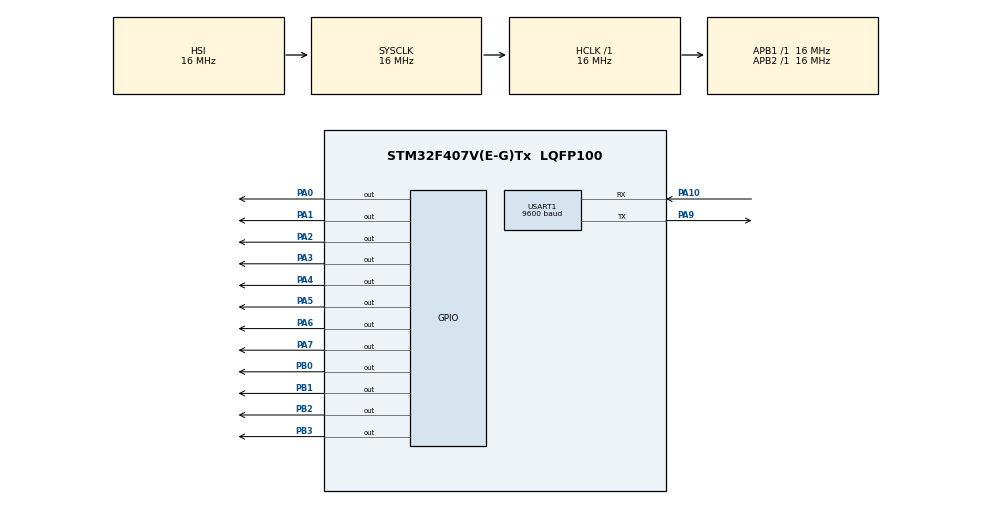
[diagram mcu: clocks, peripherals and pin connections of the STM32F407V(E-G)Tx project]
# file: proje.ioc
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Mcu.Family=STM32F4
Mcu.Name=STM32F407V(E-G)Tx
Mcu.Package=LQFP100
NVIC.PriorityGroup=NVIC_PRIORITYGROUP_4
NVIC.USART1_IRQn=true\:0\:0\:false\:false\:true\:true\:true\:true
PA0-WKUP.Signal=GPIO_Output
PA1.Signal=GPIO_Output
PA10.GPIO_PuPd=GPIO_PULLDOWN
PA10.Mode=Asynchronous
PA10.Signal=USART1_RX
PA2.Signal=GPIO_Output
PA3.Signal=GPIO_Output
PA4.Signal=GPIO_Output
PA5.Signal=GPIO_Output
PA6.Signal=GPIO_Output
PA7.Signal=GPIO_Output
PA9.Mode=Asynchronous
PA9.Signal=USART1_TX
PB0.Signal=GPIO_Output
PB1.Signal=GPIO_Output
PB2.Signal=GPIO_Output
PB3.Signal=GPIO_Output
ProjectManager.HeapSize=0x200
ProjectManager.StackSize=0x400
ProjectManager.TargetToolchain=STM32CubeIDE
RCC.AHBFreq_Value=16000000
RCC.APB1Freq_Value=16000000
RCC.APB2Freq_Value=16000000
RCC.CortexFreq_Value=16000000
RCC.HSE_VALUE=25000000
RCC.HSI_VALUE=16000000
RCC.LSE_VALUE=32768
RCC.SYSCLKFreq_VALUE=16000000
RCC.VCOOutputFreq_Value=192000000
USART1.BaudRate=9600
USART1.VirtualMode=VM_ASYNC
board=custom

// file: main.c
/* USER CODE BEGIN Header */
/**
  ******************************************************************************
  * @file           : main.c
  * @brief          : Main program body
  ******************************************************************************
  * @attention
  *
  * Copyright (c) 2026 STMicroelectronics.
  * All rights reserved.
  *
  * This software is licensed under terms that can be found in the LICENSE file
  * in the root directory of this software component.
  * If no LICENSE file comes with this software, it is provided AS-IS.
  *
  ******************************************************************************
  */
/* USER CODE END Header */
#include "main.h"

UART_HandleTypeDef huart1;

/* USER CODE BEGIN PV */
uint8_t rx_data[3]="000";
/* USER CODE END PV */

void SystemClock_Config(void);
static void MX_GPIO_Init(void);
static void MX_USART1_UART_Init(void);

int main(void)
{

  /* MCU Configuration--------------------------------------------------------*/

  /* Reset of all peripherals, Initializes the Flash interface and the Systick. */
  HAL_Init();

  /* Configure the system clock */
  SystemClock_Config();

  /* Initialize all configured peripherals */
  MX_GPIO_Init();
  MX_USART1_UART_Init();
  /* USER CODE BEGIN 2 */
  HAL_UART_Receive_IT(&huart1, rx_data, 3);
  int i=0;
  /* USER CODE END 2 */

  /* Infinite loop */
  while (1)
  {

    /* USER CODE BEGIN 3 */
	  i++;
	 	    if(i==3){
	 	    	i=0;
	 	    }
	 	    if(i==0){
	 	    	HAL_GPIO_WritePin(GPIOB, GPIO_PIN_1, GPIO_PIN_SET); //dig1
	 			switch(rx_data[i]){
	 			case 48:
	 					HAL_GPIO_WritePin(GPIOA, GPIO_PIN_0, GPIO_PIN_RESET); //a
	 					HAL_GPIO_WritePin(GPIOA, GPIO_PIN_1, GPIO_PIN_RESET); //b
	 					HAL_GPIO_WritePin(GPIOA, GPIO_PIN_2, GPIO_PIN_RESET); //c
	 					HAL_GPIO_WritePin(GPIOA, GPIO_PIN_3, GPIO_PIN_RESET); //d
	 					HAL_GPIO_WritePin(GPIOA, GPIO_PIN_4, GPIO_PIN_RESET); //e
	 					HAL_GPIO_WritePin(GPIOA, GPIO_PIN_5, GPIO_PIN_RESET); //f
	 					HAL_GPIO_WritePin(GPIOA, GPIO_PIN_6, GPIO_PIN_SET); //g
	 					break;
	 			case 49:
	 					HAL_GPIO_WritePin(GPIOA, GPIO_PIN_0, GPIO_PIN_SET); //a
	 					HAL_GPIO_WritePin(GPIOA, GPIO_PIN_1, GPIO_PIN_RESET); //b
	 					HAL_GPIO_WritePin(GPIOA, GPIO_PIN_2, GPIO_PIN_RESET); //c
	 					HAL_GPIO_WritePin(GPIOA, GPIO_PIN_3, GPIO_PIN_SET); //d
	 					HAL_GPIO_WritePin(GPIOA, GPIO_PIN_4, GPIO_PIN_SET); //e
	 					HAL_GPIO_WritePin(GPIOA, GPIO_PIN_5, GPIO_PIN_SET); //f
	 					HAL_GPIO_WritePin(GPIOA, GPIO_PIN_6, GPIO_PIN_SET); //g
	 					break;
	 			case 50:
	 					HAL_GPIO_WritePin(GPIOA, GPIO_PIN_0, GPIO_PIN_RESET); //a
	 					HAL_GPIO_WritePin(GPIOA, GPIO_PIN_1, GPIO_PIN_RESET); //b
	 					HAL_GPIO_WritePin(GPIOA, GPIO_PIN_2, GPIO_PIN_SET); //c
	 					HAL_GPIO_WritePin(GPIOA, GPIO_PIN_3, GPIO_PIN_RESET); //d
	 					HAL_GPIO_WritePin(GPIOA, GPIO_PIN_4, GPIO_PIN_RESET); //e
	 					HAL_GPIO_WritePin(GPIOA, GPIO_PIN_5, GPIO_PIN_SET); //f
	 					HAL_GPIO_WritePin(GPIOA, GPIO_PIN_6, GPIO_PIN_RESET); //g
	 					break;
	 			case 51:
	 					HAL_GPIO_WritePin(GPIOA, GPIO_PIN_0, GPIO_PIN_RESET); //a
	 					HAL_GPIO_WritePin(GPIOA, GPIO_PIN_1, GPIO_PIN_RESET); //b
	 					HAL_GPIO_WritePin(GPIOA, GPIO_PIN_2, GPIO_PIN_RESET); //c
	 					HAL_GPIO_WritePin(GPIOA, GPIO_PIN_3, GPIO_PIN_RESET); //d
	 					HAL_GPIO_WritePin(GPIOA, GPIO_PIN_4, GPIO_PIN_SET); //e
	 					HAL_GPIO_WritePin(GPIOA, GPIO_PIN_5, GPIO_PIN_SET); //f
	 					HAL_GPIO_WritePin(GPIOA, GPIO_PIN_6, GPIO_PIN_RESET); //g
	 					break;
	 			case 52:
	 					HAL_GPIO_WritePin(GPIOA, GPIO_PIN_0, GPIO_PIN_SET); //a
	 					HAL_GPIO_WritePin(GPIOA, GPIO_PIN_1, GPIO_PIN_RESET); //b
	 					HAL_GPIO_WritePin(GPIOA, GPIO_PIN_2, GPIO_PIN_RESET); //c
	 					HAL_GPIO_WritePin(GPIOA, GPIO_PIN_3, GPIO_PIN_SET); //d
	 					HAL_GPIO_WritePin(GPIOA, GPIO_PIN_4, GPIO_PIN_SET); //e
	 					HAL_GPIO_WritePin(GPIOA, GPIO_PIN_5, GPIO_PIN_RESET); //f
	 					HAL_GPIO_WritePin(GPIOA, GPIO_PIN_6, GPIO_PIN_RESET); //g
	 					break;
	 			case 53:
	 					HAL_GPIO_WritePin(GPIOA, GPIO_PIN_0, GPIO_PIN_RESET); //a
	 					HAL_GPIO_WritePin(GPIOA, GPIO_PIN_1, GPIO_PIN_SET); //b
	 					HAL_GPIO_WritePin(GPIOA, GPIO_PIN_2, GPIO_PIN_RESET); //c
	 					HAL_GPIO_WritePin(GPIOA, GPIO_PIN_3, GPIO_PIN_RESET); //d
	 					HAL_GPIO_WritePin(GPIOA, GPIO_PIN_4, GPIO_PIN_SET); //e
	 					HAL_GPIO_WritePin(GPIOA, GPIO_PIN_5, GPIO_PIN_RESET); //f
	 					HAL_GPIO_WritePin(GPIOA, GPIO_PIN_6, GPIO_PIN_RESET); //g
	 					break;
	 			case 54:
	 					HAL_GPIO_WritePin(GPIOA, GPIO_PIN_0, GPIO_PIN_RESET); //a
	 					HAL_GPIO_WritePin(GPIOA, GPIO_PIN_1, GPIO_PIN_SET); //b
	 					HAL_GPIO_WritePin(GPIOA, GPIO_PIN_2, GPIO_PIN_RESET); //c
	 					HAL_GPIO_WritePin(GPIOA, GPIO_PIN_3, GPIO_PIN_RESET); //d
	 					HAL_GPIO_WritePin(GPIOA, GPIO_PIN_4, GPIO_PIN_RESET); //e
	 					HAL_GPIO_WritePin(GPIOA, GPIO_PIN_5, GPIO_PIN_RESET); //f
	 					HAL_GPIO_WritePin(GPIOA, GPIO_PIN_6, GPIO_PIN_RESET); //g
	 					break;
	 			case 55:
	 					HAL_GPIO_WritePin(GPIOA, GPIO_PIN_0, GPIO_PIN_RESET); //a
	 					HAL_GPIO_WritePin(GPIOA, GPIO_PIN_1, GPIO_PIN_RESET); //b
	 					HAL_GPIO_WritePin(GPIOA, GPIO_PIN_2, GPIO_PIN_RESET); //c
	 					HAL_GPIO_WritePin(GPIOA, GPIO_PIN_3, GPIO_PIN_SET); //d
	 					HAL_GPIO_WritePin(GPIOA, GPIO_PIN_4, GPIO_PIN_SET); //e
	 					HAL_GPIO_WritePin(GPIOA, GPIO_PIN_5, GPIO_PIN_SET); //f
	 					HAL_GPIO_WritePin(GPIOA, GPIO_PIN_6, GPIO_PIN_SET); //g
	 					break;
	 			case 56:
	 					HAL_GPIO_WritePin(GPIOA, GPIO_PIN_0, GPIO_PIN_RESET); //a
	 					HAL_GPIO_WritePin(GPIOA, GPIO_PIN_1, GPIO_PIN_RESET); //b
	 					HAL_GPIO_WritePin(GPIOA, GPIO_PIN_2, GPIO_PIN_RESET); //c
	 					HAL_GPIO_WritePin(GPIOA, GPIO_PIN_3, GPIO_PIN_RESET); //d
	 					HAL_GPIO_WritePin(GPIOA, GPIO_PIN_4, GPIO_PIN_RESET); //e
	 					HAL_GPIO_WritePin(GPIOA, GPIO_PIN_5, GPIO_PIN_RESET); //f
	 					HAL_GPIO_WritePin(GPIOA, GPIO_PIN_6, GPIO_PIN_RESET); //g
	 					break;
	 			case 57:
	 					HAL_GPIO_WritePin(GPIOA, GPIO_PIN_0, GPIO_PIN_RESET); //a
	 					HAL_GPIO_WritePin(GPIOA, GPIO_PIN_1, GPIO_PIN_RESET); //b
	 					HAL_GPIO_WritePin(GPIOA, GPIO_PIN_2, GPIO_PIN_RESET); //c
	 					HAL_GPIO_WritePin(GPIOA, GPIO_PIN_3, GPIO_PIN_RESET); //d
	 					HAL_GPIO_WritePin(GPIOA, GPIO_PIN_4, GPIO_PIN_SET); //e
	 					HAL_GPIO_WritePin(GPIOA, GPIO_PIN_5, GPIO_PIN_RESET); //f
	 					HAL_GPIO_WritePin(GPIOA, GPIO_PIN_6, GPIO_PIN_RESET); //g
	 					break;
	 			}
	 			HAL_Delay(2);
	 			HAL_GPIO_WritePin(GPIOB, GPIO_PIN_1, GPIO_PIN_RESET);
	 	    }
	 	    else if(i==1){
	 	    	HAL_GPIO_WritePin(GPIOB, GPIO_PIN_2, GPIO_PIN_SET); //dig1
	 			switch(rx_data[i]){
	 			case 48:
	 					HAL_GPIO_WritePin(GPIOA, GPIO_PIN_7, GPIO_PIN_RESET); //dp
	 					HAL_GPIO_WritePin(GPIOA, GPIO_PIN_0, GPIO_PIN_RESET); //a
	 					HAL_GPIO_WritePin(GPIOA, GPIO_PIN_1, GPIO_PIN_RESET); //b
	 					HAL_GPIO_WritePin(GPIOA, GPIO_PIN_2, GPIO_PIN_RESET); //c
	 					HAL_GPIO_WritePin(GPIOA, GPIO_PIN_3, GPIO_PIN_RESET); //d
	 					HAL_GPIO_WritePin(GPIOA, GPIO_PIN_4, GPIO_PIN_RESET); //e
	 					HAL_GPIO_WritePin(GPIOA, GPIO_PIN_5, GPIO_PIN_RESET); //f
	 					HAL_GPIO_WritePin(GPIOA, GPIO_PIN_6, GPIO_PIN_SET); //g
	 					break;
	 			case 49:
	 					HAL_GPIO_WritePin(GPIOA, GPIO_PIN_7, GPIO_PIN_RESET); //dp
	 					HAL_GPIO_WritePin(GPIOA, GPIO_PIN_0, GPIO_PIN_SET); //a
	 					HAL_GPIO_WritePin(GPIOA, GPIO_PIN_1, GPIO_PIN_RESET); //b
	 					HAL_GPIO_WritePin(GPIOA, GPIO_PIN_2, GPIO_PIN_RESET); //c
	 					HAL_GPIO_WritePin(GPIOA, GPIO_PIN_3, GPIO_PIN_SET); //d
	 					HAL_GPIO_WritePin(GPIOA, GPIO_PIN_4, GPIO_PIN_SET); //e
	 					HAL_GPIO_WritePin(GPIOA, GPIO_PIN_5, GPIO_PIN_SET); //f
	 					HAL_GPIO_WritePin(GPIOA, GPIO_PIN_6, GPIO_PIN_SET); //g
	 					break;
	 			case 50:
	 					HAL_GPIO_WritePin(GPIOA, GPIO_PIN_7, GPIO_PIN_RESET); //dp
	 					HAL_GPIO_WritePin(GPIOA, GPIO_PIN_0, GPIO_PIN_RESET); //a
	 					HAL_GPIO_WritePin(GPIOA, GPIO_PIN_1, GPIO_PIN_RESET); //b
	 					HAL_GPIO_WritePin(GPIOA, GPIO_PIN_2, GPIO_PIN_SET); //c
	 					HAL_GPIO_WritePin(GPIOA, GPIO_PIN_3, GPIO_PIN_RESET); //d
	 					HAL_GPIO_WritePin(GPIOA, GPIO_PIN_4, GPIO_PIN_RESET); //e
	 					HAL_GPIO_WritePin(GPIOA, GPIO_PIN_5, GPIO_PIN_SET); //f
	 					HAL_GPIO_WritePin(GPIOA, GPIO_PIN_6, GPIO_PIN_RESET); //g
	 					break;
	 			case 51:
	 					HAL_GPIO_WritePin(GPIOA, GPIO_PIN_7, GPIO_PIN_RESET); //dp
	 					HAL_GPIO_WritePin(GPIOA, GPIO_PIN_0, GPIO_PIN_RESET); //a
	 					HAL_GPIO_WritePin(GPIOA, GPIO_PIN_1, GPIO_PIN_RESET); //b
	 					HAL_GPIO_WritePin(GPIOA, GPIO_PIN_2, GPIO_PIN_RESET); //c
	 					HAL_GPIO_WritePin(GPIOA, GPIO_PIN_3, GPIO_PIN_RESET); //d
	 					HAL_GPIO_WritePin(GPIOA, GPIO_PIN_4, GPIO_PIN_SET); //e
	 					HAL_GPIO_WritePin(GPIOA, GPIO_PIN_5, GPIO_PIN_SET); //f
	 					HAL_GPIO_WritePin(GPIOA, GPIO_PIN_6, GPIO_PIN_RESET); //g
	 					break;
	 			case 52:
	 					HAL_GPIO_WritePin(GPIOA, GPIO_PIN_7, GPIO_PIN_RESET); //dp
	 					HAL_GPIO_WritePin(GPIOA, GPIO_PIN_0, GPIO_PIN_SET); //a
	 					HAL_GPIO_WritePin(GPIOA, GPIO_PIN_1, GPIO_PIN_RESET); //b
	 					HAL_GPIO_WritePin(GPIOA, GPIO_PIN_2, GPIO_PIN_RESET); //c
	 					HAL_GPIO_WritePin(GPIOA, GPIO_PIN_3, GPIO_PIN_SET); //d
	 					HAL_GPIO_WritePin(GPIOA, GPIO_PIN_4, GPIO_PIN_SET); //e
	 					HAL_GPIO_WritePin(GPIOA, GPIO_PIN_5, GPIO_PIN_RESET); //f
	 					HAL_GPIO_WritePin(GPIOA, GPIO_PIN_6, GPIO_PIN_RESET); //g
	 					break;
	 			case 53:
	 					HAL_GPIO_WritePin(GPIOA, GPIO_PIN_7, GPIO_PIN_RESET); //dp
	 					HAL_GPIO_WritePin(GPIOA, GPIO_PIN_0, GPIO_PIN_RESET); //a
	 					HAL_GPIO_WritePin(GPIOA, GPIO_PIN_1, GPIO_PIN_SET); //b
	 					HAL_GPIO_WritePin(GPIOA, GPIO_PIN_2, GPIO_PIN_RESET); //c
	 					HAL_GPIO_WritePin(GPIOA, GPIO_PIN_3, GPIO_PIN_RESET); //d
	 					HAL_GPIO_WritePin(GPIOA, GPIO_PIN_4, GPIO_PIN_SET); //e
	 					HAL_GPIO_WritePin(GPIOA, GPIO_PIN_5, GPIO_PIN_RESET); //f
	 					HAL_GPIO_WritePin(GPIOA, GPIO_PIN_6, GPIO_PIN_RESET); //g
	 					break;
	 			case 54:
	 					HAL_GPIO_WritePin(GPIOA, GPIO_PIN_7, GPIO_PIN_RESET); //dp
	 					HAL_GPIO_WritePin(GPIOA, GPIO_PIN_0, GPIO_PIN_RESET); //a
	 					HAL_GPIO_WritePin(GPIOA, GPIO_PIN_1, GPIO_PIN_SET); //b
	 					HAL_GPIO_WritePin(GPIOA, GPIO_PIN_2, GPIO_PIN_RESET); //c
	 					HAL_GPIO_WritePin(GPIOA, GPIO_PIN_3, GPIO_PIN_RESET); //d
	 					HAL_GPIO_WritePin(GPIOA, GPIO_PIN_4, GPIO_PIN_RESET); //e
	 					HAL_GPIO_WritePin(GPIOA, GPIO_PIN_5, GPIO_PIN_RESET); //f
	 					HAL_GPIO_WritePin(GPIOA, GPIO_PIN_6, GPIO_PIN_RESET); //g
	 					break;
	 			case 55:
	 					HAL_GPIO_WritePin(GPIOA, GPIO_PIN_7, GPIO_PIN_RESET); //dp
	 					HAL_GPIO_WritePin(GPIOA, GPIO_PIN_0, GPIO_PIN_RESET); //a
	 					HAL_GPIO_WritePin(GPIOA, GPIO_PIN_1, GPIO_PIN_RESET); //b
	 					HAL_GPIO_WritePin(GPIOA, GPIO_PIN_2, GPIO_PIN_RESET); //c
	 					HAL_GPIO_WritePin(GPIOA, GPIO_PIN_3, GPIO_PIN_SET); //d
	 					HAL_GPIO_WritePin(GPIOA, GPIO_PIN_4, GPIO_PIN_SET); //e
	 					HAL_GPIO_WritePin(GPIOA, GPIO_PIN_5, GPIO_PIN_SET); //f
	 					HAL_GPIO_WritePin(GPIOA, GPIO_PIN_6, GPIO_PIN_SET); //g
	 					break;
	 			case 56:
	 					HAL_GPIO_WritePin(GPIOA, GPIO_PIN_7, GPIO_PIN_RESET); //dp
	 					HAL_GPIO_WritePin(GPIOA, GPIO_PIN_0, GPIO_PIN_RESET); //a
	 					HAL_GPIO_WritePin(GPIOA, GPIO_PIN_1, GPIO_PIN_RESET); //b
	 					HAL_GPIO_WritePin(GPIOA, GPIO_PIN_2, GPIO_PIN_RESET); //c
	 					HAL_GPIO_WritePin(GPIOA, GPIO_PIN_3, GPIO_PIN_RESET); //d
	 					HAL_GPIO_WritePin(GPIOA, GPIO_PIN_4, GPIO_PIN_RESET); //e
	 					HAL_GPIO_WritePin(GPIOA, GPIO_PIN_5, GPIO_PIN_RESET); //f
	 					HAL_GPIO_WritePin(GPIOA, GPIO_PIN_6, GPIO_PIN_RESET); //g
	 					break;
	 			case 57:
	 					HAL_GPIO_WritePin(GPIOA, GPIO_PIN_7, GPIO_PIN_RESET); //dp
	 					HAL_GPIO_WritePin(GPIOA, GPIO_PIN_0, GPIO_PIN_RESET); //a
	 					HAL_GPIO_WritePin(GPIOA, GPIO_PIN_1, GPIO_PIN_RESET); //b
	 					HAL_GPIO_WritePin(GPIOA, GPIO_PIN_2, GPIO_PIN_RESET); //c
	 					HAL_GPIO_WritePin(GPIOA, GPIO_PIN_3, GPIO_PIN_RESET); //d
	 					HAL_GPIO_WritePin(GPIOA, GPIO_PIN_4, GPIO_PIN_SET); //e
	 					HAL_GPIO_WritePin(GPIOA, GPIO_PIN_5, GPIO_PIN_RESET); //f
	 					HAL_GPIO_WritePin(GPIOA, GPIO_PIN_6, GPIO_PIN_RESET); //g
	 					break;
	 			}
	 			HAL_Delay(2);
	 			HAL_GPIO_WritePin(GPIOA, GPIO_PIN_7, GPIO_PIN_SET); //dp
	 			HAL_GPIO_WritePin(GPIOB, GPIO_PIN_2, GPIO_PIN_RESET);
	 	    }
	 	    else if(i==2){
	 	    	HAL_GPIO_WritePin(GPIOB, GPIO_PIN_3, GPIO_PIN_SET); //dig1
	 			switch(rx_data[i]){
	 			case 48:
	 					HAL_GPIO_WritePin(GPIOA, GPIO_PIN_0, GPIO_PIN_RESET); //a
	 					HAL_GPIO_WritePin(GPIOA, GPIO_PIN_1, GPIO_PIN_RESET); //b
	 					HAL_GPIO_WritePin(GPIOA, GPIO_PIN_2, GPIO_PIN_RESET); //c
	 					HAL_GPIO_WritePin(GPIOA, GPIO_PIN_3, GPIO_PIN_RESET); //d
	 					HAL_GPIO_WritePin(GPIOA, GPIO_PIN_4, GPIO_PIN_RESET); //e
	 					HAL_GPIO_WritePin(GPIOA, GPIO_PIN_5, GPIO_PIN_RESET); //f
	 					HAL_GPIO_WritePin(GPIOA, GPIO_PIN_6, GPIO_PIN_SET); //g
	 					break;
	 			case 49:
	 					HAL_GPIO_WritePin(GPIOA, GPIO_PIN_0, GPIO_PIN_SET); //a
	 					HAL_GPIO_WritePin(GPIOA, GPIO_PIN_1, GPIO_PIN_RESET); //b
	 					HAL_GPIO_WritePin(GPIOA, GPIO_PIN_2, GPIO_PIN_RESET); //c
	 					HAL_GPIO_WritePin(GPIOA, GPIO_PIN_3, GPIO_PIN_SET); //d
	 					HAL_GPIO_WritePin(GPIOA, GPIO_PIN_4, GPIO_PIN_SET); //e
	 					HAL_GPIO_WritePin(GPIOA, GPIO_PIN_5, GPIO_PIN_SET); //f
	 					HAL_GPIO_WritePin(GPIOA, GPIO_PIN_6, GPIO_PIN_SET); //g
	 					break;
	 			case 50:
	 					HAL_GPIO_WritePin(GPIOA, GPIO_PIN_0, GPIO_PIN_RESET); //a
	 					HAL_GPIO_WritePin(GPIOA, GPIO_PIN_1, GPIO_PIN_RESET); //b
	 					HAL_GPIO_WritePin(GPIOA, GPIO_PIN_2, GPIO_PIN_SET); //c
	 					HAL_GPIO_WritePin(GPIOA, GPIO_PIN_3, GPIO_PIN_RESET); //d
	 					HAL_GPIO_WritePin(GPIOA, GPIO_PIN_4, GPIO_PIN_RESET); //e
	 					HAL_GPIO_WritePin(GPIOA, GPIO_PIN_5, GPIO_PIN_SET); //f
	 					HAL_GPIO_WritePin(GPIOA, GPIO_PIN_6, GPIO_PIN_RESET); //g
	 					break;
	 			case 51:
	 					HAL_GPIO_WritePin(GPIOA, GPIO_PIN_0, GPIO_PIN_RESET); //a
	 					HAL_GPIO_WritePin(GPIOA, GPIO_PIN_1, GPIO_PIN_RESET); //b
	 					HAL_GPIO_WritePin(GPIOA, GPIO_PIN_2, GPIO_PIN_RESET); //c
	 					HAL_GPIO_WritePin(GPIOA, GPIO_PIN_3, GPIO_PIN_RESET); //d
	 					HAL_GPIO_WritePin(GPIOA, GPIO_PIN_4, GPIO_PIN_SET); //e
	 					HAL_GPIO_WritePin(GPIOA, GPIO_PIN_5, GPIO_PIN_SET); //f
	 					HAL_GPIO_WritePin(GPIOA, GPIO_PIN_6, GPIO_PIN_RESET); //g
	 					break;
	 			case 52:
	 					HAL_GPIO_WritePin(GPIOA, GPIO_PIN_0, GPIO_PIN_SET); //a
	 					HAL_GPIO_WritePin(GPIOA, GPIO_PIN_1, GPIO_PIN_RESET); //b
	 					HAL_GPIO_WritePin(GPIOA, GPIO_PIN_2, GPIO_PIN_RESET); //c
	 					HAL_GPIO_WritePin(GPIOA, GPIO_PIN_3, GPIO_PIN_SET); //d
	 					HAL_GPIO_WritePin(GPIOA, GPIO_PIN_4, GPIO_PIN_SET); //e
	 					HAL_GPIO_WritePin(GPIOA, GPIO_PIN_5, GPIO_PIN_RESET); //f
	 					HAL_GPIO_WritePin(GPIOA, GPIO_PIN_6, GPIO_PIN_RESET); //g
	 					break;
	 			case 53:
	 					HAL_GPIO_WritePin(GPIOA, GPIO_PIN_0, GPIO_PIN_RESET); //a
	 					HAL_GPIO_WritePin(GPIOA, GPIO_PIN_1, GPIO_PIN_SET); //b
	 					HAL_GPIO_WritePin(GPIOA, GPIO_PIN_2, GPIO_PIN_RESET); //c
	 					HAL_GPIO_WritePin(GPIOA, GPIO_PIN_3, GPIO_PIN_RESET); //d
	 					HAL_GPIO_WritePin(GPIOA, GPIO_PIN_4, GPIO_PIN_SET); //e
	 					HAL_GPIO_WritePin(GPIOA, GPIO_PIN_5, GPIO_PIN_RESET); //f
	 					HAL_GPIO_WritePin(GPIOA, GPIO_PIN_6, GPIO_PIN_RESET); //g
	 					break;
	 			case 54:
	 					HAL_GPIO_WritePin(GPIOA, GPIO_PIN_0, GPIO_PIN_RESET); //a
	 					HAL_GPIO_WritePin(GPIOA, GPIO_PIN_1, GPIO_PIN_SET); //b
	 					HAL_GPIO_WritePin(GPIOA, GPIO_PIN_2, GPIO_PIN_RESET); //c
	 					HAL_GPIO_WritePin(GPIOA, GPIO_PIN_3, GPIO_PIN_RESET); //d
	 					HAL_GPIO_WritePin(GPIOA, GPIO_PIN_4, GPIO_PIN_RESET); //e
	 					HAL_GPIO_WritePin(GPIOA, GPIO_PIN_5, GPIO_PIN_RESET); //f
	 					HAL_GPIO_WritePin(GPIOA, GPIO_PIN_6, GPIO_PIN_RESET); //g
	 					break;
	 			case 55:
	 					HAL_GPIO_WritePin(GPIOA, GPIO_PIN_0, GPIO_PIN_RESET); //a
	 					HAL_GPIO_WritePin(GPIOA, GPIO_PIN_1, GPIO_PIN_RESET); //b
	 					HAL_GPIO_WritePin(GPIOA, GPIO_PIN_2, GPIO_PIN_RESET); //c
	 					HAL_GPIO_WritePin(GPIOA, GPIO_PIN_3, GPIO_PIN_SET); //d
	 					HAL_GPIO_WritePin(GPIOA, GPIO_PIN_4, GPIO_PIN_SET); //e
	 					HAL_GPIO_WritePin(GPIOA, GPIO_PIN_5, GPIO_PIN_SET); //f
	 					HAL_GPIO_WritePin(GPIOA, GPIO_PIN_6, GPIO_PIN_SET); //g
	 					break;
	 			case 56:
	 					HAL_GPIO_WritePin(GPIOA, GPIO_PIN_0, GPIO_PIN_RESET); //a
	 					HAL_GPIO_WritePin(GPIOA, GPIO_PIN_1, GPIO_PIN_RESET); //b
	 					HAL_GPIO_WritePin(GPIOA, GPIO_PIN_2, GPIO_PIN_RESET); //c
	 					HAL_GPIO_WritePin(GPIOA, GPIO_PIN_3, GPIO_PIN_RESET); //d
	 					HAL_GPIO_WritePin(GPIOA, GPIO_PIN_4, GPIO_PIN_RESET); //e
	 					HAL_GPIO_WritePin(GPIOA, GPIO_PIN_5, GPIO_PIN_RESET); //f
	 					HAL_GPIO_WritePin(GPIOA, GPIO_PIN_6, GPIO_PIN_RESET); //g
	 					break;
	 			case 57:
	 					HAL_GPIO_WritePin(GPIOA, GPIO_PIN_0, GPIO_PIN_RESET); //a
	 					HAL_GPIO_WritePin(GPIOA, GPIO_PIN_1, GPIO_PIN_RESET); //b
	 					HAL_GPIO_WritePin(GPIOA, GPIO_PIN_2, GPIO_PIN_RESET); //c
	 					HAL_GPIO_WritePin(GPIOA, GPIO_PIN_3, GPIO_PIN_RESET); //d
	 					HAL_GPIO_WritePin(GPIOA, GPIO_PIN_4, GPIO_PIN_SET); //e
	 					HAL_GPIO_WritePin(GPIOA, GPIO_PIN_5, GPIO_PIN_RESET); //f
	 					HAL_GPIO_WritePin(GPIOA, GPIO_PIN_6, GPIO_PIN_RESET); //g
	 					break;
	 			}
	 			HAL_Delay(2);
	 			HAL_GPIO_WritePin(GPIOB, GPIO_PIN_3, GPIO_PIN_RESET);

	 	    }
	   }
  }
  /* USER CODE END 3 */

void SystemClock_Config(void)
{
  RCC_OscInitTypeDef RCC_OscInitStruct = {0};
  RCC_ClkInitTypeDef RCC_ClkInitStruct = {0};

  /** Configure the main internal regulator output voltage
  */
  __HAL_RCC_PWR_CLK_ENABLE();
  __HAL_PWR_VOLTAGESCALING_CONFIG(PWR_REGULATOR_VOLTAGE_SCALE1);

  /** Initializes the RCC Oscillators according to the specified parameters
  * in the RCC_OscInitTypeDef structure.
  */
  RCC_OscInitStruct.OscillatorType = RCC_OSCILLATORTYPE_HSI;
  RCC_OscInitStruct.HSIState = RCC_HSI_ON;
  RCC_OscInitStruct.HSICalibrationValue = RCC_HSICALIBRATION_DEFAULT;
  RCC_OscInitStruct.PLL.PLLState = RCC_PLL_NONE;
  if (HAL_RCC_OscConfig(&RCC_OscInitStruct) != HAL_OK)
  {
    Error_Handler();
  }

  /** Initializes the CPU, AHB and APB buses clocks
  */
  RCC_ClkInitStruct.ClockType = RCC_CLOCKTYPE_HCLK|RCC_CLOCKTYPE_SYSCLK
                              |RCC_CLOCKTYPE_PCLK1|RCC_CLOCKTYPE_PCLK2;
  RCC_ClkInitStruct.SYSCLKSource = RCC_SYSCLKSOURCE_HSI;
  RCC_ClkInitStruct.AHBCLKDivider = RCC_SYSCLK_DIV1;
  RCC_ClkInitStruct.APB1CLKDivider = RCC_HCLK_DIV1;
  RCC_ClkInitStruct.APB2CLKDivider = RCC_HCLK_DIV1;

  if (HAL_RCC_ClockConfig(&RCC_ClkInitStruct, FLASH_LATENCY_0) != HAL_OK)
  {
    Error_Handler();
  }
}

static void MX_USART1_UART_Init(void)
{

  huart1.Instance = USART1;
  huart1.Init.BaudRate = 9600;
  huart1.Init.WordLength = UART_WORDLENGTH_8B;
  huart1.Init.StopBits = UART_STOPBITS_1;
  huart1.Init.Parity = UART_PARITY_NONE;
  huart1.Init.Mode = UART_MODE_TX_RX;
  huart1.Init.HwFlowCtl = UART_HWCONTROL_NONE;
  huart1.Init.OverSampling = UART_OVERSAMPLING_16;
  if (HAL_UART_Init(&huart1) != HAL_OK)
  {
    Error_Handler();
  }

}

static void MX_GPIO_Init(void)
{
  GPIO_InitTypeDef GPIO_InitStruct = {0};

  /* GPIO Ports Clock Enable */
  __HAL_RCC_GPIOA_CLK_ENABLE();
  __HAL_RCC_GPIOB_CLK_ENABLE();

  /*Configure GPIO pin Output Level */
  HAL_GPIO_WritePin(GPIOA, GPIO_PIN_0|GPIO_PIN_1|GPIO_PIN_2|GPIO_PIN_3
                          |GPIO_PIN_4|GPIO_PIN_5|GPIO_PIN_6|GPIO_PIN_7, GPIO_PIN_RESET);

  /*Configure GPIO pin Output Level */
  HAL_GPIO_WritePin(GPIOB, GPIO_PIN_0|GPIO_PIN_1|GPIO_PIN_2|GPIO_PIN_3, GPIO_PIN_RESET);

  /*Configure GPIO pins : PA0 PA1 PA2 PA3
                           PA4 PA5 PA6 PA7 */
  GPIO_InitStruct.Pin = GPIO_PIN_0|GPIO_PIN_1|GPIO_PIN_2|GPIO_PIN_3
                          |GPIO_PIN_4|GPIO_PIN_5|GPIO_PIN_6|GPIO_PIN_7;
  GPIO_InitStruct.Mode = GPIO_MODE_OUTPUT_PP;
  GPIO_InitStruct.Pull = GPIO_NOPULL;
  GPIO_InitStruct.Speed = GPIO_SPEED_FREQ_LOW;
  HAL_GPIO_Init(GPIOA, &GPIO_InitStruct);

  /*Configure GPIO pins : PB0 PB1 PB2 PB3 */
  GPIO_InitStruct.Pin = GPIO_PIN_0|GPIO_PIN_1|GPIO_PIN_2|GPIO_PIN_3;
  GPIO_InitStruct.Mode = GPIO_MODE_OUTPUT_PP;
  GPIO_InitStruct.Pull = GPIO_NOPULL;
  GPIO_InitStruct.Speed = GPIO_SPEED_FREQ_LOW;
  HAL_GPIO_Init(GPIOB, &GPIO_InitStruct);

}

/* USER CODE BEGIN 4 */
void HAL_UART_RxCpltCallback(UART_HandleTypeDef *huart) {
    if(huart->Instance == USART1) {
        HAL_UART_Receive_IT(&huart1, rx_data, 3);
    }
}
/* USER CODE END 4 */

void Error_Handler(void)
{
  __disable_irq();
  while (1)
  {
  }
}
